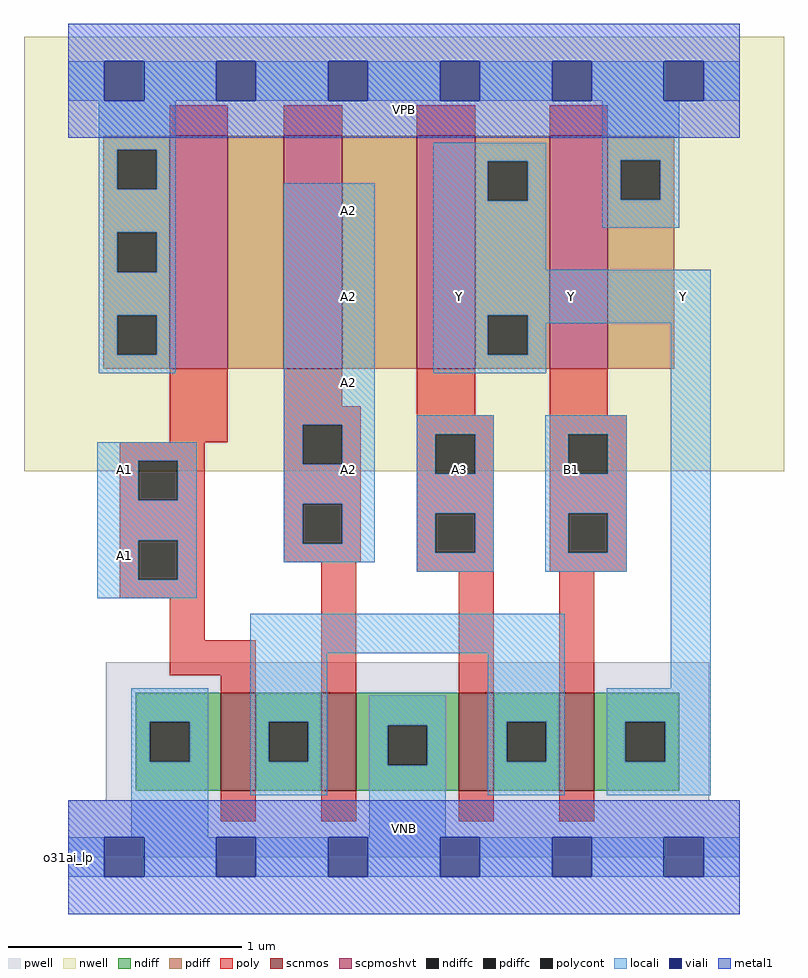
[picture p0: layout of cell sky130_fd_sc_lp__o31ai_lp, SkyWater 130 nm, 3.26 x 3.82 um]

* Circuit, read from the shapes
.subckt sky130_fd_sc_lp__o31ai_lp A1 A2 A3 B1 VGND VNB VPB VPWR Y
XM1 n1 A1 VGND VNB sky130_fd_pr__nfet_01v8 w=0.42 l=0.15
XM2 VGND A2 n1 VNB sky130_fd_pr__nfet_01v8 w=0.42 l=0.15
XM3 n1 A3 VGND VNB sky130_fd_pr__nfet_01v8 w=0.42 l=0.15
XM4 Y B1 n1 VNB sky130_fd_pr__nfet_01v8 w=0.42 l=0.15
XM5 n2 A1 VPWR VPB sky130_fd_pr__pfet_01v8_hvt w=1 l=0.25
XM6 n3 A2 n2 VPB sky130_fd_pr__pfet_01v8_hvt w=1 l=0.25
XM7 Y A3 n3 VPB sky130_fd_pr__pfet_01v8_hvt w=1 l=0.25
XM8 VPWR B1 Y VPB sky130_fd_pr__pfet_01v8_hvt w=1 l=0.25
.ends

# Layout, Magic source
magic
tech sky130A
magscale 1 2
<< nwell >>
rect -38 331 614 704
<< pwell >>
rect 32 49 550 167
rect 0 0 576 49
<< scnmos >>
rect 131 57 161 141
rect 217 57 247 141
rect 335 57 365 141
rect 421 57 451 141
<< scpmoshvt >>
rect 87 419 137 619
rect 185 419 235 619
rect 299 419 349 619
rect 413 419 463 619
<< ndiff >>
rect 58 116 131 141
rect 58 82 70 116
rect 104 82 131 116
rect 58 57 131 82
rect 161 116 217 141
rect 161 82 172 116
rect 206 82 217 116
rect 161 57 217 82
rect 247 113 335 141
rect 247 79 274 113
rect 308 79 335 113
rect 247 57 335 79
rect 365 116 421 141
rect 365 82 376 116
rect 410 82 421 116
rect 365 57 421 82
rect 451 116 524 141
rect 451 82 478 116
rect 512 82 524 116
rect 451 57 524 82
<< pdiff >>
rect 30 607 87 619
rect 30 573 42 607
rect 76 573 87 607
rect 30 536 87 573
rect 30 502 42 536
rect 76 502 87 536
rect 30 465 87 502
rect 30 431 42 465
rect 76 431 87 465
rect 30 419 87 431
rect 137 419 185 619
rect 235 419 299 619
rect 349 597 413 619
rect 349 563 360 597
rect 394 563 413 597
rect 349 465 413 563
rect 349 431 360 465
rect 394 431 413 465
rect 349 419 413 431
rect 463 598 520 619
rect 463 564 474 598
rect 508 564 520 598
rect 463 419 520 564
<< ndiffc >>
rect 70 82 104 116
rect 172 82 206 116
rect 274 79 308 113
rect 376 82 410 116
rect 478 82 512 116
<< pdiffc >>
rect 42 573 76 607
rect 42 502 76 536
rect 42 431 76 465
rect 360 563 394 597
rect 360 431 394 465
rect 474 564 508 598
<< poly >>
rect 87 619 137 645
rect 185 619 235 645
rect 299 619 349 645
rect 413 619 463 645
rect 87 356 137 419
rect 185 387 235 419
rect 185 371 251 387
rect 44 340 117 356
rect 44 306 60 340
rect 94 306 117 340
rect 44 272 117 306
rect 44 238 60 272
rect 94 238 117 272
rect 185 337 201 371
rect 235 337 251 371
rect 185 303 251 337
rect 185 269 201 303
rect 235 269 251 303
rect 185 253 251 269
rect 299 379 349 419
rect 413 379 463 419
rect 299 363 365 379
rect 299 329 315 363
rect 349 329 365 363
rect 299 295 365 329
rect 299 261 315 295
rect 349 261 365 295
rect 44 222 117 238
rect 87 186 117 222
rect 87 156 161 186
rect 131 141 161 156
rect 217 141 247 253
rect 299 245 365 261
rect 413 363 479 379
rect 413 329 429 363
rect 463 329 479 363
rect 413 295 479 329
rect 413 261 429 295
rect 463 261 479 295
rect 413 245 479 261
rect 335 141 365 245
rect 421 141 451 245
rect 131 31 161 57
rect 217 31 247 57
rect 335 31 365 57
rect 421 31 451 57
<< polycont >>
rect 60 306 94 340
rect 60 238 94 272
rect 201 337 235 371
rect 201 269 235 303
rect 315 329 349 363
rect 315 261 349 295
rect 429 329 463 363
rect 429 261 463 295
<< locali >>
rect 0 649 31 683
rect 65 649 127 683
rect 161 649 223 683
rect 257 649 319 683
rect 353 649 415 683
rect 449 649 511 683
rect 545 649 576 683
rect 26 607 92 649
rect 26 573 42 607
rect 76 573 92 607
rect 313 597 410 613
rect 26 536 92 573
rect 26 502 42 536
rect 76 502 92 536
rect 26 465 92 502
rect 26 431 42 465
rect 76 431 92 465
rect 26 415 92 431
rect 185 371 263 578
rect 313 563 360 597
rect 394 563 410 597
rect 313 504 410 563
rect 458 598 524 649
rect 458 564 474 598
rect 508 564 524 598
rect 458 540 524 564
rect 313 465 551 504
rect 313 431 360 465
rect 394 458 551 465
rect 394 431 410 458
rect 313 415 410 431
rect 25 340 110 356
rect 25 306 60 340
rect 94 306 110 340
rect 25 272 110 306
rect 25 238 60 272
rect 94 238 110 272
rect 185 337 201 371
rect 235 337 263 371
rect 185 303 263 337
rect 185 269 201 303
rect 235 269 263 303
rect 185 253 263 269
rect 299 363 365 379
rect 299 329 315 363
rect 349 329 365 363
rect 299 295 365 329
rect 299 261 315 295
rect 349 261 365 295
rect 299 245 365 261
rect 409 363 479 379
rect 409 329 429 363
rect 463 329 479 363
rect 409 295 479 329
rect 409 261 429 295
rect 463 261 479 295
rect 409 245 479 261
rect 25 222 110 238
rect 156 175 426 209
rect 54 116 120 145
rect 54 82 70 116
rect 104 82 120 116
rect 54 17 120 82
rect 156 116 222 175
rect 156 82 172 116
rect 206 82 222 116
rect 156 53 222 82
rect 258 113 324 139
rect 258 79 274 113
rect 308 79 324 113
rect 258 17 324 79
rect 360 116 426 175
rect 517 145 551 458
rect 360 82 376 116
rect 410 82 426 116
rect 360 53 426 82
rect 462 116 551 145
rect 462 82 478 116
rect 512 82 551 116
rect 462 53 551 82
rect 0 -17 31 17
rect 65 -17 127 17
rect 161 -17 223 17
rect 257 -17 319 17
rect 353 -17 415 17
rect 449 -17 511 17
rect 545 -17 576 17
<< viali >>
rect 31 649 65 683
rect 127 649 161 683
rect 223 649 257 683
rect 319 649 353 683
rect 415 649 449 683
rect 511 649 545 683
rect 31 -17 65 17
rect 127 -17 161 17
rect 223 -17 257 17
rect 319 -17 353 17
rect 415 -17 449 17
rect 511 -17 545 17
<< metal1 >>
rect 0 683 576 715
rect 0 649 31 683
rect 65 649 127 683
rect 161 649 223 683
rect 257 649 319 683
rect 353 649 415 683
rect 449 649 511 683
rect 545 649 576 683
rect 0 617 576 649
rect 0 17 576 49
rect 0 -17 31 17
rect 65 -17 127 17
rect 161 -17 223 17
rect 257 -17 319 17
rect 353 -17 415 17
rect 449 -17 511 17
rect 545 -17 576 17
rect 0 -49 576 -17
<< labels >>
flabel pwell s 0 0 576 49 0 FreeSans 200 0 0 0 VNB
port 6 nsew ground bidirectional
flabel nwell s 0 617 576 666 0 FreeSans 200 0 0 0 VPB
port 7 nsew power bidirectional
rlabel comment s 0 0 0 0 4 o31ai_lp
flabel metal1 s 0 617 576 666 0 FreeSans 340 0 0 0 VPWR
port 8 nsew power bidirectional
flabel metal1 s 0 0 576 49 0 FreeSans 340 0 0 0 VGND
port 5 nsew ground bidirectional
flabel locali s 415 316 449 350 0 FreeSans 340 0 0 0 B1
port 4 nsew signal input
flabel locali s 31 242 65 276 0 FreeSans 340 0 0 0 A1
port 1 nsew signal input
flabel locali s 31 316 65 350 0 FreeSans 340 0 0 0 A1
port 1 nsew signal input
flabel locali s 319 316 353 350 0 FreeSans 340 0 0 0 A3
port 3 nsew signal input
flabel locali s 319 464 353 498 0 FreeSans 340 0 0 0 Y
port 9 nsew signal output
flabel locali s 415 464 449 498 0 FreeSans 340 0 0 0 Y
port 9 nsew signal output
flabel locali s 511 464 545 498 0 FreeSans 340 0 0 0 Y
port 9 nsew signal output
flabel locali s 223 316 257 350 0 FreeSans 340 0 0 0 A2
port 2 nsew signal input
flabel locali s 223 390 257 424 0 FreeSans 340 0 0 0 A2
port 2 nsew signal input
flabel locali s 223 464 257 498 0 FreeSans 340 0 0 0 A2
port 2 nsew signal input
flabel locali s 223 538 257 572 0 FreeSans 340 0 0 0 A2
port 2 nsew signal input
<< properties >>
string LEFsite unit
string LEFclass CORE
string FIXED_BBOX 0 0 576 666
string GDS_FILE $PDKPATH/libs.ref/sky130_fd_sc_lp/gds/sky130_fd_sc_lp.gds
string LEFsymmetry X Y R90
string GDS_END 273334
string GDS_START 267294
<< end >>
